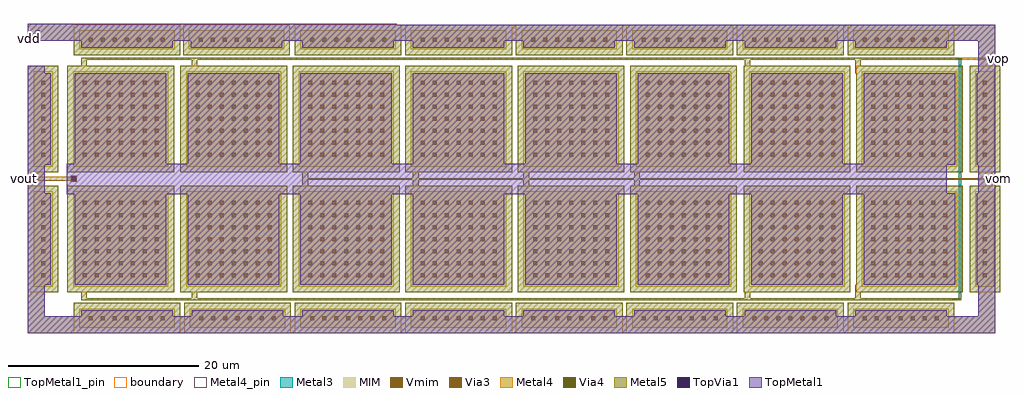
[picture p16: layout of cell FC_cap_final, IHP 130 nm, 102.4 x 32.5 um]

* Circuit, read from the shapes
.subckt FC_cap_final vdd vom vop vout
XC1 vdd vdd cap_cmim w=2u l=10u m=4
XC2 vout vop cap_cmim w=10u l=10u m=8
XC3 vdd vdd cap_cmim w=10u l=2u m=16
XC4 vout vom cap_cmim w=10u l=10u m=8
.ends

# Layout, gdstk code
from math import pi, radians
import gdstk
lib = gdstk.Library(unit=1e-6, precision=1e-09)
def R(c, l, rs):  # rectangles x0, y0, x1, y1
    for r in rs: c.add(gdstk.rectangle(r[:2], r[2:], *l))
def A(c, l, x, y, w, h, nx, ny, dx, dy):  # array of equal rectangles
    R(c, l, [(x+i*dx, y+j*dy, x+i*dx+w, y+j*dy+h) for i in range(nx) for j in range(ny)])
Metal3 = (30, 0)
MIM = (36, 0)
Via3 = (49, 0)
Metal4 = (50, 0)
Metal4_pin = (50, 2)
Via4 = (66, 0)
Metal5 = (67, 0)
TopVia1 = (125, 0)
TopMetal1 = (126, 0)
TopMetal1_pin = (126, 2)
Vmim = (129, 0)
boundary = (189, 4)

cap_cmim_mv9cwz = lib.new_cell('cap_cmim_MV9CWZ')
R(cap_cmim_mv9cwz, MIM, [(-5,-1,5,1)])
R(cap_cmim_mv9cwz, Metal5, [(-5.6,-1.6,5.6,1.6)])
R(cap_cmim_mv9cwz, TopMetal1, [(-4.8,-0.82,4.8,0.82)])
A(cap_cmim_mv9cwz, Vmim, -3.99, -0.21, 0.42, 0.42, 7, 1, 1.26, 0)
R(cap_cmim_mv9cwz, boundary, [(-5.6,-1.6,5.6,1.6)])
cap_cmim_mv9cwz.add(gdstk.Label('C1', (0,0), layer=126, texttype=25))
cap_cmim_mv9cwz.add(gdstk.Label('C2', (5.1,0), layer=67, texttype=25))

cap_cmim_rcjhdk = lib.new_cell('cap_cmim_RCJHDK')
R(cap_cmim_rcjhdk, MIM, [(-5,-5,5,5)])
R(cap_cmim_rcjhdk, Metal5, [(-5.6,-5.6,5.6,5.6)])
R(cap_cmim_rcjhdk, TopMetal1, [(-4.8,-4.8,4.8,4.8)])
A(cap_cmim_rcjhdk, Vmim, -3.99, -3.99, 0.42, 0.42, 7, 7, 1.26, 1.26)
R(cap_cmim_rcjhdk, boundary, [(-5.6,-5.6,5.6,5.6)])
cap_cmim_rcjhdk.add(gdstk.Label('C1', (0,0), layer=126, texttype=25))
cap_cmim_rcjhdk.add(gdstk.Label('C2', (5.1,0), layer=67, texttype=25))

fc_cap_final = lib.new_cell('FC_cap_final')
R(fc_cap_final, Metal3, [(92.85,-13.2,93.15,12.2)])
R(fc_cap_final, Via3, [(92.905,-13.195,93.095,-13.005), (92.905,12.005,93.095,12.195)])
R(fc_cap_final, Metal4, [(92.25,-13.2,93.15,-13), (-0.3,-0.8,0.35,-0.7), (-5.2,-0.7,0.35,-0.25), (91.9,-0.6,97.1,-0.4), (-0.3,-0.25,0.35,-0.15), (92.7,12,97.1,12.2)])
R(fc_cap_final, Metal4_pin, [(-5.2,-0.6,-5,-0.4), (96.9,-0.6,97.1,-0.4), (96.9,12,97.1,12.2)])
R(fc_cap_final, Via4, [(92.455,-13.195,92.645,-13.005), (92.105,-0.595,92.295,-0.405), (-0.07,-0.57,0.12,-0.38), (92.905,12.005,93.095,12.195)])
A(fc_cap_final, Metal5, 24, -2, 0.6, 1.4, 4, 2, 11.6, 1.6)
R(fc_cap_final, Metal5, [(-4.8,-16.7,96.7,-14.9), (-4.8,-14.9,-3,11.4), (94.9,-14.9,96.7,14), (0.8,-13.2,92.85,-13), (0.8,-13,1.4,-11.6), (12.4,-13,13,-11.6), (70.4,-13,71,-11.6), (82,-13,82.6,-11.6), (-0.3,-0.8,0.35,-0.15), (24,-0.6,92.4,-0.4), (0.8,10.6,1.4,12), (12.4,10.6,13,12), (70.4,10.6,71,12), (82,10.6,82.6,12), (0.8,12,93.2,12.2), (-4.8,14,96.7,15.7), (-4.8,15.7,33.9,15.8)])
R(fc_cap_final, TopVia1, [(-0.185,-0.685,0.235,-0.265), (-3.96,14.69,-3.54,15.11)])
R(fc_cap_final, TopMetal1, [(-4.8,-16.7,96.7,-14.9), (-4.8,-14.9,-3,11.4), (94.9,-14.9,96.7,14), (-0.7,-2.1,91.6,1.1), (-4.8,14,96.7,15.7), (-4.8,15.7,33.9,15.8)])
R(fc_cap_final, TopMetal1_pin, [(-4.8,14,-4.4,14.4)])
fc_cap_final.add(gdstk.Reference(cap_cmim_mv9cwz, (5.6,-15.1)))
fc_cap_final.add(gdstk.Reference(cap_cmim_mv9cwz, (-3.2,-6.8), rotation=3*pi/2))
fc_cap_final.add(gdstk.Reference(cap_cmim_rcjhdk, (4.95,-6.8)))
fc_cap_final.add(gdstk.Reference(cap_cmim_mv9cwz, (17.2,-15.1)))
fc_cap_final.add(gdstk.Reference(cap_cmim_rcjhdk, (16.8,-6.8)))
fc_cap_final.add(gdstk.Reference(cap_cmim_mv9cwz, (28.8,-15.1)))
fc_cap_final.add(gdstk.Reference(cap_cmim_rcjhdk, (28.6,-6.8)))
fc_cap_final.add(gdstk.Reference(cap_cmim_mv9cwz, (40.4,-15.1)))
fc_cap_final.add(gdstk.Reference(cap_cmim_rcjhdk, (40.4,-6.8)))
fc_cap_final.add(gdstk.Reference(cap_cmim_mv9cwz, (52,-15.1)))
fc_cap_final.add(gdstk.Reference(cap_cmim_rcjhdk, (52.2,-6.8)))
fc_cap_final.add(gdstk.Reference(cap_cmim_mv9cwz, (63.6,-15.1)))
fc_cap_final.add(gdstk.Reference(cap_cmim_rcjhdk, (64,-6.8)))
fc_cap_final.add(gdstk.Reference(cap_cmim_mv9cwz, (75.2,-15.1)))
fc_cap_final.add(gdstk.Reference(cap_cmim_rcjhdk, (75.9,-6.8)))
fc_cap_final.add(gdstk.Reference(cap_cmim_mv9cwz, (86.8,-15.1)))
fc_cap_final.add(gdstk.Reference(cap_cmim_rcjhdk, (87.7,-6.8)))
fc_cap_final.add(gdstk.Reference(cap_cmim_mv9cwz, (95.6,-6.8), rotation=3*pi/2))
fc_cap_final.add(gdstk.Reference(cap_cmim_mv9cwz, (-3.2,5.8), rotation=3*pi/2))
fc_cap_final.add(gdstk.Reference(cap_cmim_rcjhdk, (4.95,5.8)))
fc_cap_final.add(gdstk.Reference(cap_cmim_rcjhdk, (16.8,5.8)))
fc_cap_final.add(gdstk.Reference(cap_cmim_rcjhdk, (28.6,5.8)))
fc_cap_final.add(gdstk.Reference(cap_cmim_rcjhdk, (40.4,5.8)))
fc_cap_final.add(gdstk.Reference(cap_cmim_rcjhdk, (52.2,5.8)))
fc_cap_final.add(gdstk.Reference(cap_cmim_rcjhdk, (64,5.8)))
fc_cap_final.add(gdstk.Reference(cap_cmim_rcjhdk, (75.9,5.8)))
fc_cap_final.add(gdstk.Reference(cap_cmim_rcjhdk, (87.7,5.8)))
fc_cap_final.add(gdstk.Reference(cap_cmim_mv9cwz, (95.6,5.8), rotation=3*pi/2))
fc_cap_final.add(gdstk.Reference(cap_cmim_mv9cwz, (5.6,14.1)))
fc_cap_final.add(gdstk.Reference(cap_cmim_mv9cwz, (17.1,14.1)))
fc_cap_final.add(gdstk.Reference(cap_cmim_mv9cwz, (28.8,14.1)))
fc_cap_final.add(gdstk.Reference(cap_cmim_mv9cwz, (40.4,14.1)))
fc_cap_final.add(gdstk.Reference(cap_cmim_mv9cwz, (52,14.1)))
fc_cap_final.add(gdstk.Reference(cap_cmim_mv9cwz, (63.6,14.1)))
fc_cap_final.add(gdstk.Reference(cap_cmim_mv9cwz, (75.2,14.1)))
fc_cap_final.add(gdstk.Reference(cap_cmim_mv9cwz, (86.8,14.1)))
fc_cap_final.add(gdstk.Label('vdd', (-4.6,14.2), layer=126, texttype=25))
fc_cap_final.add(gdstk.Label('vout', (-5.1,-0.5), layer=50, texttype=25))
fc_cap_final.add(gdstk.Label('vop', (97,12.1), layer=50, texttype=25))
fc_cap_final.add(gdstk.Label('vom', (97,-0.5), layer=50, texttype=25))

lib.write_gds('FC_cap_final.gds')
